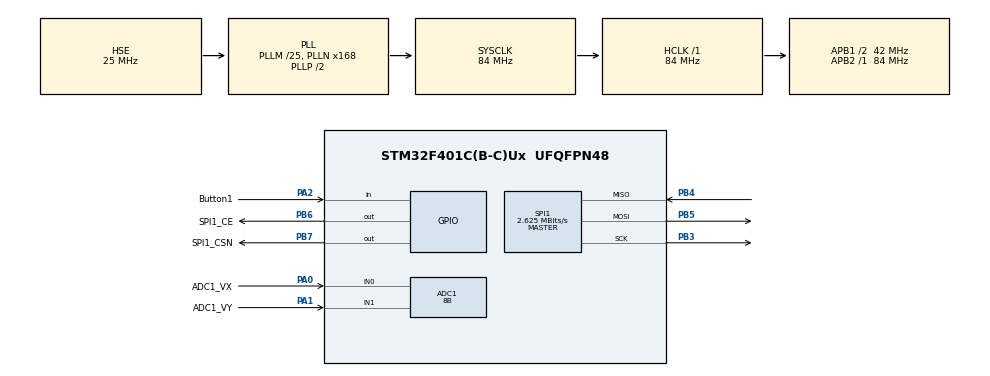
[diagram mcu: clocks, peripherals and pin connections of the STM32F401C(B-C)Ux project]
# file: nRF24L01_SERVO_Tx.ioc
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Mcu.Family=STM32F4
RCC.PLLSourceVirtual=RCC_PLLSOURCE_HSE
PA2.GPIO_PuPd=GPIO_PULLUP
Dma.ADC1.0.Instance=DMA2_Stream0
RCC.CortexFreq_Value=84000000
ADC1.Rank-0\#ChannelRegularConversion=1
SPI1.VirtualType=VM_MASTER
ADC1.ContinuousConvMode=ENABLE
PH1\ -\ OSC_OUT.Mode=HSE-External-Oscillator
PB6.GPIO_Label=SPI1_CE
RCC.APB1CLKDivider=RCC_HCLK_DIV2
RCC.SYSCLKSource=RCC_SYSCLKSOURCE_PLLCLK
ProjectManager.StackSize=0x400
PA0-WKUP.GPIO_Label=ADC1_VX
PA0-WKUP.Signal=ADCx_IN0
PA13.Signal=SYS_JTMS-SWDIO
Dma.ADC1.0.PeriphDataAlignment=DMA_PDATAALIGN_WORD
PH0\ -\ OSC_IN.Mode=HSE-External-Oscillator
PH0\ -\ OSC_IN.Signal=RCC_OSC_IN
ProjectManager.TargetToolchain=STM32CubeIDE
Dma.ADC1.0.Mode=DMA_CIRCULAR
SPI1.Direction=SPI_DIRECTION_2LINES
RCC.HCLKFreq_Value=84000000
ADC1.Resolution=ADC_RESOLUTION_8B
Dma.ADC1.0.Priority=DMA_PRIORITY_LOW
RCC.APB2TimFreq_Value=84000000
PB6.Signal=GPIO_Output
ADC1.Channel-1\#ChannelRegularConversion=ADC_CHANNEL_1
Dma.ADC1.0.Direction=DMA_PERIPH_TO_MEMORY
SPI1.CalculateBaudRate=2.625 MBits/s
NVIC.DMA2_Stream0_IRQn=true\:0\:0\:false\:false\:true\:false\:true
RCC.LSE_VALUE=32768
Dma.ADC1.0.MemDataAlignment=DMA_MDATAALIGN_WORD
PA1.Signal=ADCx_IN1
RCC.AHBFreq_Value=84000000
ADC1.Channel-0\#ChannelRegularConversion=ADC_CHANNEL_0
RCC.HSE_VALUE=25000000
PH1\ -\ OSC_OUT.Signal=RCC_OSC_OUT
PB3.Mode=Full_Duplex_Master
ADC1.ScanConvMode=ENABLE
board=custom
RCC.VCOOutputFreq_Value=168000000
RCC.APB2Freq_Value=84000000
PB4.Mode=Full_Duplex_Master
SPI1.Mode=SPI_MODE_MASTER
PA14.Mode=Serial_Wire
Dma.ADC1.0.PeriphInc=DMA_PINC_DISABLE
PB5.Mode=Full_Duplex_Master
PA1.GPIO_Label=ADC1_VY
PB7.Signal=GPIO_Output
SH.ADCx_IN0.0=ADC1_IN0,IN0
ADC1.DMAContinuousRequests=ENABLE
ADC1.NbrOfConversion=2
PA13.Mode=Serial_Wire
Mcu.Name=STM32F401C(B-C)Ux
ADC1.SamplingTime-0\#ChannelRegularConversion=ADC_SAMPLETIME_144CYCLES
PA2.Signal=GPIO_Input
PB7.GPIO_Label=SPI1_CSN
RCC.48MHZClocksFreq_Value=42000000
PB3.Signal=SPI1_SCK
ADC1.SamplingTime-1\#ChannelRegularConversion=ADC_SAMPLETIME_144CYCLES
RCC.SYSCLKFreq_VALUE=84000000
Mcu.Package=UFQFPN48
PB5.Signal=SPI1_MOSI
ADC1.master=1
ADC1.Rank-1\#ChannelRegularConversion=2
PA2.GPIO_Label=Button1
PA14.Signal=SYS_JTCK-SWCLK
Dma.ADC1.0.MemInc=DMA_MINC_ENABLE
ProjectManager.HeapSize=0x200
RCC.HSI_VALUE=16000000
NVIC.PriorityGroup=NVIC_PRIORITYGROUP_4
ADC1.NbrOfConversionFlag=1
SH.ADCx_IN1.0=ADC1_IN1,IN1
RCC.PLLM=25
RCC.PLLN=168
RCC.APB1TimFreq_Value=84000000
Dma.ADC1.0.FIFOMode=DMA_FIFOMODE_DISABLE
Dma.Request0=ADC1
RCC.APB1Freq_Value=42000000
SPI1.BaudRatePrescaler=SPI_BAUDRATEPRESCALER_32
PB4.Signal=SPI1_MISO

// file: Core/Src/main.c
/* USER CODE BEGIN Header */
/**
  ******************************************************************************
  * @file           : main.c
  * @brief          : Main program body
  ******************************************************************************
  * @attention
  *
  * <h2><center>&copy; Copyright (c) 2023 STMicroelectronics.
  * All rights reserved.</center></h2>
  *
  * This software component is licensed by ST under BSD 3-Clause license,
  * the "License"; You may not use this file except in compliance with the
  * License. You may obtain a copy of the License at:
  *                        opensource.org/licenses/BSD-3-Clause
  *
  ******************************************************************************
  */
/* USER CODE END Header */
#include "main.h"
#include "adc.h"
#include "dma.h"
#include "spi.h"
#include "gpio.h"

/* USER CODE BEGIN Includes */

		#include "NRF24L01.h"

/* USER CODE END Includes */

/* USER CODE BEGIN PM */

	/* nRF24l01 */

		uint8_t Rxaddr[5] = {'S','T','E','A','M'};
		uint8_t TxData[8] = {0};

		/* ADC */

			int ADC_Read[2] = {0};
			int Button1 = 0;
			int Joystick_x = 0;
			int Joystick_y = 0;
			int Omega = 0;
			int State_button = 0;
			int Switch = 0;
			int i, j;
			long last_time = 0, current_time = 0;;

/* USER CODE END PM */

void SystemClock_Config(void);
/* USER CODE BEGIN PFP */

		/* MAP JOYSTICK */

			double map(double x, double in_min, double in_max, double out_min, double out_max) {
			  return (x - in_min) * (out_max - out_min) / (in_max - in_min) + out_min;
			}

			/* SEND DATE nRF24l01_Master TO RECIEVER (TX TO RX) */

				void nRF24l01_Master(){
					  TxData[0] = i;
					  TxData[1] = j;
					  TxData[2] = 0;
					  TxData[3] = 5;
					  TxData[4] = 6;
					  TxData[5] = 7;
					  TxData[6] = 8;
					  TxData[7] = 10;

					  /* NRF24_Transmit(data, size) */

							NRF24_Transmit(TxData, 8);
							HAL_Delay(5);
				}

		/* MAP JOYSTICK */

			void Joystick() {
				  if (ADC_Read[0] >= 0 && ADC_Read[0] <= 120){
					  Joystick_x = map(ADC_Read[0], 0, 120, 0, 90);
				  }
				  if (ADC_Read[0] >= 130 && ADC_Read[0] <= 255){
					  Joystick_x = map(ADC_Read[0], 130, 255, 90, 180);
				  }
				  if (ADC_Read[0] > 120 && ADC_Read[0] < 130){
					  Joystick_x = 90;
				  }

				  if (ADC_Read[1] >= 0 && ADC_Read[1] <= 120){
					  Joystick_y = map(ADC_Read[1], 0, 120, 0, 90);
				  }
				  if (ADC_Read[1] >= 130 && ADC_Read[1] <= 255){
					  Joystick_y = map(ADC_Read[1], 130, 255, 90, 180);
				  }
				  if (ADC_Read[1] > 120 && ADC_Read[1] < 130){
					  Joystick_y = 90;
				  }

				  if (Switch == 0){
					  Joystick_y = Joystick_y;
					  Omega = 128;
				  }
				  else {
					  Omega = Joystick_y;
					  Joystick_y = 128;
				  }
			}

/* USER CODE END PFP */

int main(void)
{

  /* MCU Configuration--------------------------------------------------------*/

  /* Reset of all peripherals, Initializes the Flash interface and the Systick. */
  HAL_Init();

  /* Configure the system clock */
  SystemClock_Config();

  /* Initialize all configured peripherals */
  MX_GPIO_Init();
  MX_DMA_Init();
  MX_ADC1_Init();
  MX_SPI1_Init();
  /* USER CODE BEGIN 2 */

	  /* nRF24L01 */

		  NRF24_Init();
		  NRF24_TxMode(Rxaddr, 112, 8);

	  /* ADC JOYSTICK */

	  	  HAL_ADC_Start_DMA(&hadc1, &ADC_Read, 2);

	  	  HAL_Delay(50);

  /* USER CODE END 2 */

  /* Infinite loop */
  while (1)
  {

    /* USER CODE BEGIN 3 */

	  	  /* BUTTON SWITCH FROM JOYSTICK */

			  Button1 = HAL_GPIO_ReadPin(Button1_GPIO_Port, Button1_Pin);

			  if (Button1 == 0 && State_button == 0){
				  State_button = 1;
				  last_time = HAL_GetTick();
			  }
			  if (Button1 == 1 && State_button == 1){
				  State_button = 0;
				  current_time = HAL_GetTick();
			  }
			  if (current_time - last_time > 100){
				  last_time = current_time;
				  Switch = !Switch;
			  }
			  Joystick();

	     /* SEND DATA ANGLE SERVO */

			 /* SERVO 1 */

				/* COUNT SERVO 1 : i++ */

					  if(Joystick_x > 90 ){
						  current_time=HAL_GetTick();
						  if (current_time - last_time > 1){
								i++;
							  if (i>180) i=180;
								  last_time = current_time;
								}
					  }

				 /* COUNT SERVO 1: i-- */

					  if(Joystick_x < 90 ){
					  	  current_time=HAL_GetTick();
						  if (current_time - last_time > 1){
						      	 i--;
						      if (i<0) i = 0;
						      	  last_time = current_time;
							  }
					 }

			/* SERVO 2 */

				/* COUNT SERVO 2: i++ */

					  if(Joystick_y > 90 ){
						  current_time=HAL_GetTick();
						  if (current_time - last_time > 1){
							  	 j++;
							  if (i>180) i=180;
								 last_time = current_time;
						  	  }
					}

				/* COUNT SERVO 2: i-- */

					  if(Joystick_y < 90 ){
						  current_time=HAL_GetTick();
						  if (current_time - last_time > 1){
								j--;
							if (i<0) i = 0;
								last_time = current_time;
						  	  }
					}

		  /* DATA MASTER */

			 nRF24l01_Master();

  }
  /* USER CODE END 3 */
}

void SystemClock_Config(void)
{
  RCC_OscInitTypeDef RCC_OscInitStruct = {0};
  RCC_ClkInitTypeDef RCC_ClkInitStruct = {0};

  /** Configure the main internal regulator output voltage
  */
  __HAL_RCC_PWR_CLK_ENABLE();
  __HAL_PWR_VOLTAGESCALING_CONFIG(PWR_REGULATOR_VOLTAGE_SCALE2);
  /** Initializes the RCC Oscillators according to the specified parameters
  * in the RCC_OscInitTypeDef structure.
  */
  RCC_OscInitStruct.OscillatorType = RCC_OSCILLATORTYPE_HSE;
  RCC_OscInitStruct.HSEState = RCC_HSE_ON;
  RCC_OscInitStruct.PLL.PLLState = RCC_PLL_ON;
  RCC_OscInitStruct.PLL.PLLSource = RCC_PLLSOURCE_HSE;
  RCC_OscInitStruct.PLL.PLLM = 25;
  RCC_OscInitStruct.PLL.PLLN = 168;
  RCC_OscInitStruct.PLL.PLLP = RCC_PLLP_DIV2;
  RCC_OscInitStruct.PLL.PLLQ = 4;
  if (HAL_RCC_OscConfig(&RCC_OscInitStruct) != HAL_OK)
  {
    Error_Handler();
  }
  /** Initializes the CPU, AHB and APB buses clocks
  */
  RCC_ClkInitStruct.ClockType = RCC_CLOCKTYPE_HCLK|RCC_CLOCKTYPE_SYSCLK
                              |RCC_CLOCKTYPE_PCLK1|RCC_CLOCKTYPE_PCLK2;
  RCC_ClkInitStruct.SYSCLKSource = RCC_SYSCLKSOURCE_PLLCLK;
  RCC_ClkInitStruct.AHBCLKDivider = RCC_SYSCLK_DIV1;
  RCC_ClkInitStruct.APB1CLKDivider = RCC_HCLK_DIV2;
  RCC_ClkInitStruct.APB2CLKDivider = RCC_HCLK_DIV1;

  if (HAL_RCC_ClockConfig(&RCC_ClkInitStruct, FLASH_LATENCY_2) != HAL_OK)
  {
    Error_Handler();
  }
}

void Error_Handler(void)
{
  __disable_irq();
  while (1)
  {
  }
}

/************************ (C) COPYRIGHT STMicroelectronics *****END OF FILE****/
